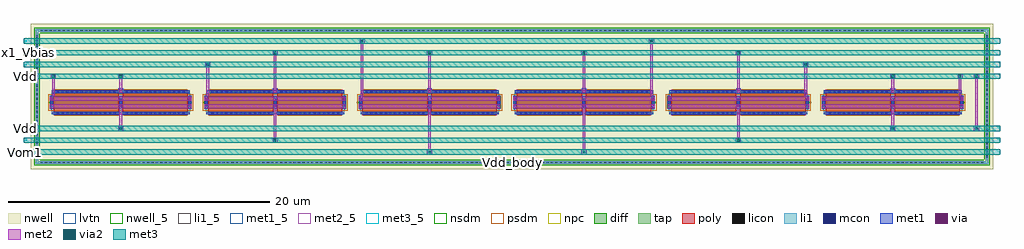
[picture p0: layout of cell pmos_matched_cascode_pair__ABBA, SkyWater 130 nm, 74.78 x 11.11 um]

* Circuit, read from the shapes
.subckt pmos_matched_cascode_pair__ABBA Vdd Vdd_body Vom1 Vop1 x1_Vbias x1_Vtest2 x1_net1
XM1 Vdd Vdd Vdd Vdd_body sky130_fd_pr__pfet_01v8_lvt w=1 l=5 m=4
XM2 Vop1 x1_Vbias x1_Vtest2 Vdd_body sky130_fd_pr__pfet_01v8_lvt w=1 l=5 m=4
XM3 Vom1 x1_Vbias x1_net1 Vdd_body sky130_fd_pr__pfet_01v8_lvt w=1 l=5 m=4
.ends

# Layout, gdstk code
from math import pi, radians
import gdstk
lib = gdstk.Library(unit=1e-6, precision=1e-09)
def R(c, l, rs):  # rectangles x0, y0, x1, y1
    for r in rs: c.add(gdstk.rectangle(r[:2], r[2:], *l))
def A(c, l, x, y, w, h, nx, ny, dx, dy):  # array of equal rectangles
    R(c, l, [(x+i*dx, y+j*dy, x+i*dx+w, y+j*dy+h) for i in range(nx) for j in range(ny)])
nwell_5 = (64, 5)
nwell = (64, 20)
diff = (65, 20)
tap = (65, 44)
poly = (66, 20)
licon = (66, 44)
li1_5 = (67, 5)
li1 = (67, 20)
mcon = (67, 44)
met1_5 = (68, 5)
met1 = (68, 20)
via = (68, 44)
met2_5 = (69, 5)
met2 = (69, 20)
via2 = (69, 44)
met3_5 = (70, 5)
met3 = (70, 20)
nsdm = (93, 44)
psdm = (94, 20)
npc = (95, 20)
lvtn = (125, 44)

sky130_fd_pr__pfet_01v8_ = lib.new_cell('sky130_fd_pr__pfet_01v8_lvt_26VEAH')
R(sky130_fd_pr__pfet_01v8_, nwell, [(-5.615,-1,5.615,1)])
R(sky130_fd_pr__pfet_01v8_, diff, [(-5.435,-0.5,5.435,0.5)])
R(sky130_fd_pr__pfet_01v8_, poly, [(-5.145,-0.985,-0.145,0.985), (0.145,-0.985,5.145,0.985)])
A(sky130_fd_pr__pfet_01v8_, licon, -4.94, -0.905, 0.17, 0.17, 14, 2, 0.34, 1.64)
A(sky130_fd_pr__pfet_01v8_, licon, 0.35, -0.905, 0.17, 0.17, 14, 2, 0.34, 1.64)
A(sky130_fd_pr__pfet_01v8_, licon, -5.375, -0.425, 0.17, 0.17, 3, 3, 5.29, 0.34)
A(sky130_fd_pr__pfet_01v8_, li1, -5.375, -0.52, 0.17, 1.04, 3, 1, 5.29, 0)
R(sky130_fd_pr__pfet_01v8_, li1, [(-5.29,-0.905,5.29,-0.735), (-5.29,0.735,5.29,0.905)])
A(sky130_fd_pr__pfet_01v8_, mcon, -4.89, -0.905, 0.17, 0.17, 13, 2, 0.36, 1.64)
A(sky130_fd_pr__pfet_01v8_, mcon, 0.4, -0.905, 0.17, 0.17, 13, 2, 0.36, 1.64)
A(sky130_fd_pr__pfet_01v8_, mcon, -5.375, -0.265, 0.17, 0.17, 3, 2, 5.29, 0.36)
A(sky130_fd_pr__pfet_01v8_, met1, -5.405, -0.5, 0.23, 1, 3, 1, 5.29, 0)
R(sky130_fd_pr__pfet_01v8_, met1, [(-5.125,-0.935,-0.165,-0.905), (0.165,-0.935,5.125,-0.905), (-5.29,-0.905,5.29,-0.735), (-5.125,-0.735,-0.165,-0.705), (0.165,-0.735,5.125,-0.705), (-5.125,0.705,-0.165,0.735), (0.165,0.705,5.125,0.735), (-5.29,0.735,5.29,0.905), (-5.125,0.905,-0.165,0.935), (0.165,0.905,5.125,0.935)])
R(sky130_fd_pr__pfet_01v8_, psdm, [(-5.56,-0.625,5.56,0.625)])
R(sky130_fd_pr__pfet_01v8_, npc, [(-5.04,-1.005,-0.25,-0.635), (0.25,-1.005,5.04,-0.635), (-5.04,0.635,-0.25,1.005), (0.25,0.635,5.04,1.005)])
R(sky130_fd_pr__pfet_01v8_, lvtn, [(-5.325,-0.68,5.325,0.68)])
sky130_fd_pr__pfet_01v8_.add(gdstk.Label('D0', (-5.29,0), layer=67, texttype=5))
sky130_fd_pr__pfet_01v8_.add(gdstk.Label('G', (2.645,0.82), layer=67, texttype=5))
sky130_fd_pr__pfet_01v8_.add(gdstk.Label('G', (-2.645,0.82), layer=67, texttype=5))
sky130_fd_pr__pfet_01v8_.add(gdstk.Label('S1', (0,0), layer=67, texttype=5))

pfet_01v8_lvt_w2_l5_m2__ = lib.new_cell('pfet_01v8_lvt_W2_L5_m2__nf2_gboth_sdfull_outS_ng')
R(pfet_01v8_lvt_w2_l5_m2__, nwell_5, [(0.05,0.95,0.15,1.05)])
R(pfet_01v8_lvt_w2_l5_m2__, nwell, [(0.05,0.95,0.15,1.05)])
R(pfet_01v8_lvt_w2_l5_m2__, met1_5, [(0.325,1.705,10.905,1.935)])
R(pfet_01v8_lvt_w2_l5_m2__, met1, [(5.485,0.55,5.745,0.87), (0.195,1.13,0.455,1.45), (10.775,1.13,11.035,1.45), (0.325,1.705,10.905,1.935)])
R(pfet_01v8_lvt_w2_l5_m2__, via, [(5.54,0.635,5.69,0.785), (0.25,1.215,0.4,1.365), (10.83,1.215,10.98,1.365)])
R(pfet_01v8_lvt_w2_l5_m2__, met2_5, [(0.19,0.55,11.04,0.87), (0.19,1.13,11.04,1.45)])
R(pfet_01v8_lvt_w2_l5_m2__, met2, [(0.19,0.55,11.04,0.87), (0.19,1.13,11.04,1.45)])
pfet_01v8_lvt_w2_l5_m2__.add(gdstk.Reference(sky130_fd_pr__pfet_01v8_, (5.615,1)))
pfet_01v8_lvt_w2_l5_m2__.add(gdstk.Label('S', (5.615,1.29), layer=69, texttype=5))
pfet_01v8_lvt_w2_l5_m2__.add(gdstk.Label('D', (5.615,0.71), layer=69, texttype=5))
pfet_01v8_lvt_w2_l5_m2__.add(gdstk.Label('G', (5.615,1.82), layer=68, texttype=5))
pfet_01v8_lvt_w2_l5_m2__.add(gdstk.Label('B', (0.1,1), layer=64, texttype=5))

pmos_matched_cascode_pai = lib.new_cell('pmos_matched_cascode_pair__ABBA')
R(pmos_matched_cascode_pai, nwell, [(-1.3,-4.1,72.48,7.01)])
R(pmos_matched_cascode_pai, tap, [(-0.885,-3.685,72.065,-3.515), (-0.885,-3.515,-0.715,6.425), (71.895,-3.515,72.065,6.425), (-0.885,6.425,72.065,6.595)])
A(pmos_matched_cascode_pai, licon, -0.535, -3.685, 0.17, 0.17, 213, 2, 0.34, 10.11)
A(pmos_matched_cascode_pai, licon, -0.885, -3.22, 0.17, 0.17, 1, 28, 0, 0.34)
A(pmos_matched_cascode_pai, licon, 71.895, -3.22, 0.17, 0.17, 1, 28, 0, 0.34)
R(pmos_matched_cascode_pai, li1_5, [(35.54,-3.65,35.64,-3.55)])
R(pmos_matched_cascode_pai, li1, [(-0.885,-3.685,72.065,-3.515), (-0.885,-3.515,-0.715,6.425), (71.895,-3.515,72.065,6.425), (-0.885,6.425,72.065,6.595)])
A(pmos_matched_cascode_pai, met1, 5.435, 1.735, 0.36, 0.36, 6, 1, 11.83, 0)
A(pmos_matched_cascode_pai, via, 5.54, 1.84, 0.15, 0.15, 6, 1, 11.83, 0)
A(pmos_matched_cascode_pai, met2, 5.485, 1.755, 0.26, 0.32, 6, 1, 11.83, 0)
A(pmos_matched_cascode_pai, met2, 17.345, 2.075, 0.2, 2.535, 4, 1, 11.83, 0)
A(pmos_matched_cascode_pai, met2, 17.245, 4.61, 0.4, 0.4, 4, 1, 11.83, 0)
R(pmos_matched_cascode_pai, met2, [(29.075,-3,29.475,-2.6), (40.905,-3,41.305,-2.6), (29.175,-2.6,29.375,0.65), (41.005,-2.6,41.205,0.65), (17.245,-2.1,17.645,-1.7), (52.735,-2.1,53.135,-1.7), (17.345,-1.7,17.545,0.65), (52.835,-1.7,53.035,0.65), (5.415,-1.2,5.815,-0.8), (64.565,-1.2,64.965,-0.8), (70.98,-1.2,71.38,-0.8), (5.515,-0.8,5.715,0.65), (64.665,-0.8,64.865,0.65), (71.08,-0.8,71.28,2.81), (0.35,1.35,0.55,2.81), (12.18,1.35,12.38,3.71), (24.01,1.35,24.21,5.51), (46.17,1.35,46.37,5.51), (58,1.35,58.2,3.71), (69.83,1.35,70.03,2.81), (5.515,2.075,5.715,2.81), (64.665,2.075,64.865,2.81), (0.25,2.81,0.65,3.21), (5.415,2.81,5.815,3.21), (64.565,2.81,64.965,3.21), (69.73,2.81,70.13,3.21), (70.98,2.81,71.38,3.21), (12.08,3.71,12.48,4.11), (57.9,3.71,58.3,4.11), (23.91,5.51,24.31,5.91), (46.07,5.51,46.47,5.91)])
A(pmos_matched_cascode_pai, via2, 17.345, 4.71, 0.2, 0.2, 4, 1, 11.83, 0)
R(pmos_matched_cascode_pai, via2, [(29.175,-2.9,29.375,-2.7), (41.005,-2.9,41.205,-2.7), (17.345,-2,17.545,-1.8), (52.835,-2,53.035,-1.8), (5.515,-1.1,5.715,-0.9), (64.665,-1.1,64.865,-0.9), (71.08,-1.1,71.28,-0.9), (0.35,2.91,0.55,3.11), (5.515,2.91,5.715,3.11), (64.665,2.91,64.865,3.11), (69.83,2.91,70.03,3.11), (71.08,2.91,71.28,3.11), (12.18,3.81,12.38,4.01), (58,3.81,58.2,4.01), (24.01,5.61,24.21,5.81), (46.17,5.61,46.37,5.81)])
A(pmos_matched_cascode_pai, met3_5, -1.7, -2.85, 0.1, 0.1, 1, 3, 0, 0.9)
A(pmos_matched_cascode_pai, met3_5, -1.7, 2.96, 0.1, 0.1, 1, 4, 0, 0.9)
A(pmos_matched_cascode_pai, met3, -1.8, -3, 74.78, 0.4, 1, 3, 0, 0.9)
A(pmos_matched_cascode_pai, met3, -1.8, 2.81, 74.78, 0.4, 1, 4, 0, 0.9)
R(pmos_matched_cascode_pai, nsdm, [(-1.01,-3.81,72.19,-3.39), (-1.01,-3.39,-0.59,6.3), (71.77,-3.39,72.19,6.3), (-1.01,6.3,72.19,6.72)])
pmos_matched_cascode_pai.add(gdstk.Reference(pfet_01v8_lvt_w2_l5_m2__, (70.38,0), rotation=pi, x_reflection=True))
pmos_matched_cascode_pai.add(gdstk.Reference(pfet_01v8_lvt_w2_l5_m2__, (58.55,0), rotation=pi, x_reflection=True))
pmos_matched_cascode_pai.add(gdstk.Reference(pfet_01v8_lvt_w2_l5_m2__, (46.72,0), rotation=pi, x_reflection=True))
pmos_matched_cascode_pai.add(gdstk.Reference(pfet_01v8_lvt_w2_l5_m2__, (23.66,0)))
pmos_matched_cascode_pai.add(gdstk.Reference(pfet_01v8_lvt_w2_l5_m2__, (11.83,0)))
pmos_matched_cascode_pai.add(gdstk.Reference(pfet_01v8_lvt_w2_l5_m2__, (0,0)))
pmos_matched_cascode_pai.add(gdstk.Label('Vdd', (-1.65,3.01), layer=70, texttype=5))
pmos_matched_cascode_pai.add(gdstk.Label('x1_Vtest2', (-1.65,3.91), layer=70, texttype=5))
pmos_matched_cascode_pai.add(gdstk.Label('x1_Vbias', (-1.65,4.81), layer=70, texttype=5))
pmos_matched_cascode_pai.add(gdstk.Label('x1_net1', (-1.65,5.71), layer=70, texttype=5))
pmos_matched_cascode_pai.add(gdstk.Label('Vdd', (-1.65,-1), layer=70, texttype=5))
pmos_matched_cascode_pai.add(gdstk.Label('Vop1', (-1.65,-1.9), layer=70, texttype=5))
pmos_matched_cascode_pai.add(gdstk.Label('Vom1', (-1.65,-2.8), layer=70, texttype=5))
pmos_matched_cascode_pai.add(gdstk.Label('Vdd_body', (35.59,-3.6), layer=67, texttype=5))

lib.write_gds('pmos_matched_cascode_pair__ABBA.gds')
